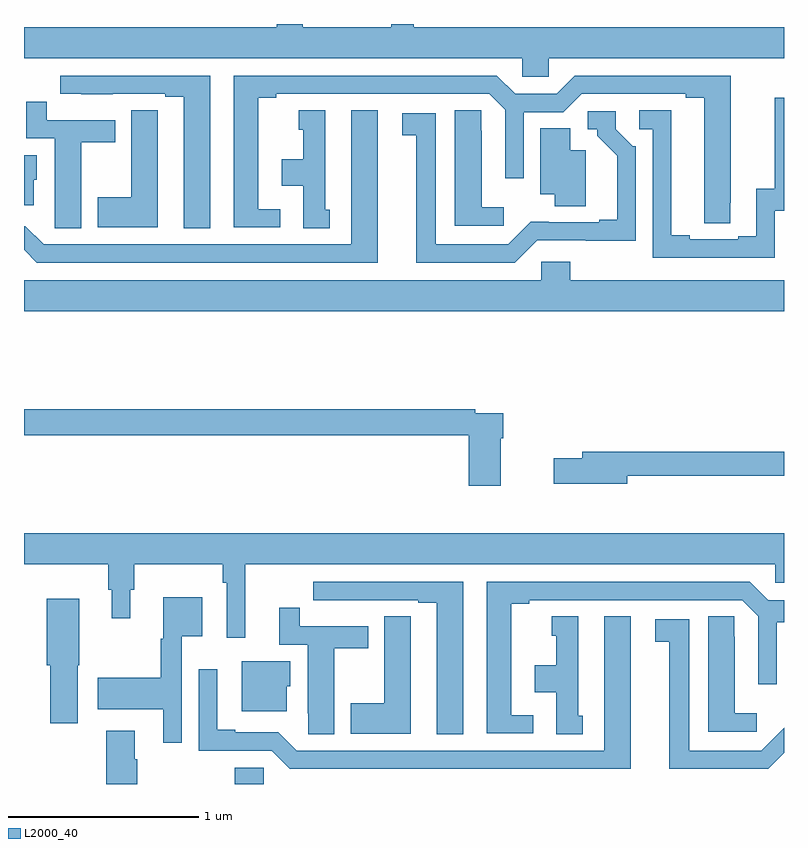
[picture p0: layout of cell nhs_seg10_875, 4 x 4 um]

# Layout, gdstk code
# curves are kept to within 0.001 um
import gdstk
lib = gdstk.Library(unit=1e-6, precision=1e-09)
def R(c, l, rs):  # rectangles x0, y0, x1, y1
    for r in rs: c.add(gdstk.rectangle(r[:2], r[2:], *l))
def P(c, l, *ps):  # polygons
    for p in ps: c.add(gdstk.Polygon(p, *l))
L2000_40 = (2000, 40)

nhs_seg10_875 = lib.new_cell('nhs_seg10_875')
R(nhs_seg10_875, L2000_40, [(156.11,1292.5,156.261,1292.586)])
P(nhs_seg10_875, L2000_40, [(157.761,1296.32),(159,1296.32),(159,1296.484),(157.052,1296.484),(157.052,1296.5),(156.934,1296.5),(156.934,1296.484),(156.467,1296.484),(156.467,1296.5),(156.331,1296.5),(156.331,1296.484),(155,1296.484),(155,1296.32),(157.623,1296.32),(157.623,1296.222),(157.761,1296.222)],
  [(156.349,1295.526),(156.232,1295.526),(156.232,1296.112),(156.328,1296.112),(156.328,1296.132),(157.449,1296.132),(157.533,1296.048),(157.533,1295.688),(157.629,1295.688),(157.629,1296.036),(157.839,1296.036),(157.935,1296.132),(158.483,1296.132),(158.483,1296.112),(158.579,1296.112),(158.579,1295.452),(158.718,1295.452),(158.719,1296.228),(157.899,1296.228),(157.803,1296.132),(157.585,1296.132),(157.489,1296.228),(156.104,1296.228),(156.104,1295.43),(156.349,1295.43)],
  [(155.98,1296.228),(155.19,1296.228),(155.19,1296.132),(155.302,1296.132),(155.302,1296.131),(155.468,1296.131),(155.468,1296.132),(155.744,1296.132),(155.744,1296.117),(155.84,1296.117),(155.84,1295.425),(155.98,1295.425)],
  [(158.952,1295.517),(159,1295.517),(159,1296.111),(158.95,1296.111),(158.95,1295.633),(158.855,1295.633),(158.855,1295.382),(158.759,1295.382),(158.759,1295.367),(158.503,1295.367),(158.503,1295.387),(158.407,1295.387),(158.407,1296.047),(158.238,1296.047),(158.238,1295.946),(158.31,1295.946),(158.31,1295.271),(158.952,1295.271)],
  [(155.302,1295.878),(155.479,1295.878),(155.479,1295.994),(155.12,1295.994),(155.12,1296.091),(155.012,1296.091),(155.012,1295.898),(155.162,1295.898),(155.162,1295.536),(155.163,1295.536),(155.163,1295.425),(155.302,1295.425)],
  [(157.525,1295.536),(157.408,1295.536),(157.408,1295.939),(157.407,1295.939),(157.407,1296.047),(157.268,1296.047),(157.268,1295.439),(157.525,1295.439)],
  [(155.704,1295.939),(155.703,1295.939),(155.703,1296.047),(155.564,1296.047),(155.564,1295.589),(155.387,1295.589),(155.387,1295.429),(155.704,1295.429)],
  [(156.61,1295.523),(156.586,1295.523),(156.586,1296.046),(156.446,1296.046),(156.446,1295.943),(156.47,1295.943),(156.47,1295.788),(156.356,1295.788),(156.356,1295.648),(156.47,1295.648),(156.47,1295.425),(156.61,1295.425)],
  [(156.862,1296.046),(156.722,1296.046),(156.722,1295.34),(155.103,1295.34),(155.007,1295.436),(155,1295.436),(155,1295.311),(155.067,1295.244),(156.862,1295.244)],
  [(157.701,1295.361),(158.22,1295.36),(158.22,1295.856),(158.205,1295.856),(158.115,1295.946),(158.115,1296.042),(157.968,1296.042),(157.968,1295.946),(158.018,1295.946),(158.018,1295.911),(158.123,1295.806),(158.123,1295.47),(158.027,1295.47),(158.027,1295.457),(157.666,1295.458),(157.548,1295.34),(157.168,1295.34),(157.168,1296.03),(156.99,1296.03),(156.99,1295.914),(157.064,1295.914),(157.064,1295.244),(157.584,1295.244)],
  [(157.957,1295.836),(157.876,1295.836),(157.876,1295.951),(157.718,1295.951),(157.718,1295.603),(157.793,1295.603),(157.793,1295.542),(157.957,1295.542)],
  [(155.05,1295.679),(155.068,1295.679),(155.068,1295.809),(155,1295.809),(155,1295.546),(155.05,1295.546)],
  [(159,1295.152),(157.874,1295.152),(157.874,1295.25),(157.722,1295.25),(157.722,1295.152),(155,1295.152),(155,1294.988),(159,1294.988)],
  [(157.51,1294.319),(157.523,1294.319),(157.523,1294.452),(157.376,1294.452),(157.376,1294.472),(155,1294.472),(155,1294.336),(157.34,1294.336),(157.34,1294.071),(157.51,1294.071)],
  [(158.176,1294.122),(159,1294.122),(159,1294.25),(157.937,1294.25),(157.937,1294.214),(157.788,1294.214),(157.788,1294.079),(158.176,1294.079)],
  [(156.164,1293.656),(158.955,1293.656),(158.955,1293.558),(159,1293.558),(159,1293.82),(155,1293.82),(155,1293.656),(155.443,1293.656),(155.443,1293.522),(155.462,1293.522),(155.462,1293.372),(155.56,1293.372),(155.56,1293.522),(155.579,1293.522),(155.579,1293.656),(156.046,1293.656),(156.046,1293.56),(156.066,1293.56),(156.066,1293.27),(156.164,1293.27)],
  [(157.681,1292.862),(157.564,1292.862),(157.564,1293.448),(157.66,1293.448),(157.66,1293.468),(158.781,1293.468),(158.865,1293.384),(158.865,1293.024),(158.962,1293.024),(158.962,1293.352),(159,1293.352),(159,1293.468),(158.917,1293.468),(158.821,1293.564),(157.436,1293.564),(157.436,1292.766),(157.681,1292.766)],
  [(157.312,1293.564),(156.522,1293.564),(156.522,1293.468),(156.634,1293.468),(156.634,1293.467),(156.8,1293.467),(156.8,1293.468),(157.076,1293.468),(157.076,1293.453),(157.172,1293.453),(157.172,1292.761),(157.312,1292.761)],
  [(155.829,1293.278),(155.938,1293.278),(155.938,1293.484),(155.732,1293.484),(155.732,1293.264),(155.721,1293.264),(155.721,1293.06),(155.388,1293.06),(155.388,1292.894),(155.732,1292.894),(155.732,1292.718),(155.829,1292.718)],
  [(155.284,1293.126),(155.29,1293.126),(155.29,1293.475),(155.12,1293.475),(155.12,1293.126),(155.138,1293.126),(155.138,1292.82),(155.284,1292.82)],
  [(156.634,1293.214),(156.811,1293.214),(156.811,1293.33),(156.452,1293.33),(156.452,1293.427),(156.344,1293.427),(156.344,1293.234),(156.494,1293.234),(156.494,1292.872),(156.495,1292.872),(156.495,1292.761),(156.634,1292.761)],
  [(157.036,1293.275),(157.035,1293.275),(157.035,1293.383),(156.896,1293.383),(156.896,1292.925),(156.719,1292.925),(156.719,1292.765),(157.036,1292.765)],
  [(158.857,1292.872),(158.74,1292.872),(158.74,1293.275),(158.739,1293.275),(158.739,1293.383),(158.6,1293.383),(158.6,1292.775),(158.857,1292.775)],
  [(158.194,1293.382),(158.054,1293.382),(158.054,1292.676),(156.435,1292.676),(156.339,1292.772),(156.112,1292.772),(156.112,1292.785),(156.016,1292.785),(156.016,1293.103),(155.919,1293.103),(155.919,1292.676),(156.303,1292.676),(156.399,1292.58),(158.194,1292.58)],
  [(157.942,1292.859),(157.918,1292.859),(157.918,1293.382),(157.778,1293.382),(157.778,1293.279),(157.802,1293.279),(157.802,1293.124),(157.688,1293.124),(157.688,1292.984),(157.802,1292.984),(157.802,1292.761),(157.942,1292.761)],
  [(159,1292.664),(159,1292.796),(158.88,1292.676),(158.5,1292.676),(158.5,1293.366),(158.322,1293.366),(158.322,1293.25),(158.396,1293.25),(158.396,1292.58),(158.916,1292.58)],
  [(156.382,1293.015),(156.4,1293.015),(156.4,1293.145),(156.146,1293.145),(156.146,1292.882),(156.382,1292.882)],
  [(155.597,1292.63),(155.584,1292.63),(155.584,1292.779),(155.432,1292.779),(155.432,1292.5),(155.597,1292.5)])

lib.write_gds('nhs_seg10_875.gds')
